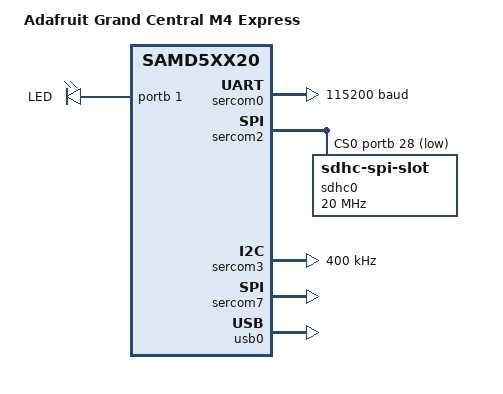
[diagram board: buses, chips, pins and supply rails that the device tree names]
/*
 * Copyright (c) 2023 Lukas Jung <lukas.jung@mailbox.org>
 * SPDX-License-Identifier: Apache-2.0
 */

/dts-v1/;
#include <atmel/samd5xx20.dtsi>
#include "adafruit_grand_central_m4_express-pinctrl.dtsi"

/ {
	compatible = "adafruit,grand-central-m4-express";
	model = "Adafruit Grand Central M4 Express";

	chosen {
		zephyr,console = &sercom0;
		zephyr,shell-uart = &sercom0;
		zephyr,sram = &sram0;
		zephyr,flash = &flash0;
		zephyr,code-partition = &code_partition;
	};

	/* These aliases are provided for compatibility with samples */
	aliases {
		led0 = &led0;
		sdhc0 = &sdhc0;
	};

	leds {
		compatible = "gpio-leds";

		led0: led_0 {
			gpios = <&portb 1 0>;
			label = "LED";
		};
	};
};

&cpu0 {
	clock-frequency = <120000000>;
};

&sercom0 {
	compatible = "atmel,sam0-uart";
	current-speed = <115200>;
	rxpo = <1>;
	txpo = <0>;

	pinctrl-0 = <&sercom0_uart_default>;
	pinctrl-names = "default";
	status = "okay";
};

&sercom2 {
	compatible = "atmel,sam0-spi";
	dipo = <3>;
	dopo = <0>;

	#address-cells = <1>;
	#size-cells = <0>;

	pinctrl-0 = <&sercom2_spi_default>;
	pinctrl-names = "default";

	cs-gpios = <&portb 28 GPIO_ACTIVE_LOW>;
	status = "okay";

	/* microSD Card */
	sdhc0: sdhc@0 {
		compatible = "zephyr,sdhc-spi-slot";
		reg = <0>;
		spi-max-frequency = <20000000>;
		status = "okay";

		mmc {
			compatible = "zephyr,sdmmc-disk";
			disk-name = "SD";
			status = "okay";
		};
	};
};

&sercom3 {
	compatible = "atmel,sam0-i2c";
	clock-frequency = <I2C_BITRATE_FAST>;

	#address-cells = <1>;
	#size-cells = <0>;

	pinctrl-0 = <&sercom3_i2c_default>;
	pinctrl-names = "default";
	status = "okay";
};

&sercom7 {
	compatible = "atmel,sam0-spi";
	dipo = <3>;
	dopo = <0>;

	#address-cells = <1>;
	#size-cells = <0>;

	pinctrl-0 = <&sercom7_spi_default>;
	pinctrl-names = "default";
	status = "okay";
};

zephyr_udc0: &usb0 {
	pinctrl-0 = <&usb_dc_default>;
	pinctrl-names = "default";
	status = "okay";
};

&dmac {
	status = "okay";
};

&flash0 {
	partitions {
		compatible = "fixed-partitions";
		#address-cells = <1>;
		#size-cells = <1>;

		boot_partition: partition@0 {
			reg = <0x00000000 DT_SIZE_K(16)>;
			label = "uf2";
			read-only;
		};

		code_partition: partition@4000 {
			reg = <0x4000 DT_SIZE_K(1024-16)>;
			label = "code";
			read-only;
		};
	};
};
